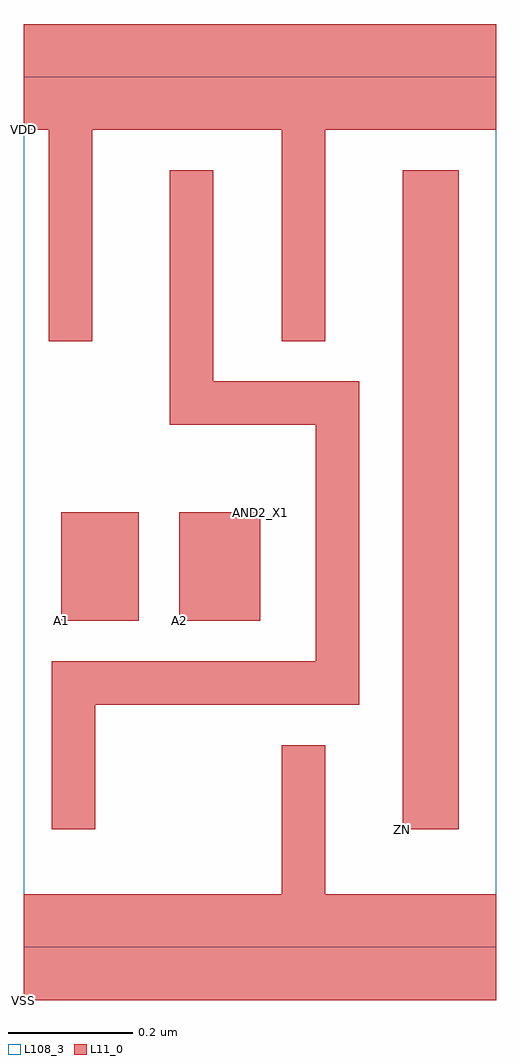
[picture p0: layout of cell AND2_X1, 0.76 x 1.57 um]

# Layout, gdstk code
import gdstk
lib = gdstk.Library(unit=1e-6, precision=1e-09)
def R(c, l, rs):  # rectangles x0, y0, x1, y1
    for r in rs: c.add(gdstk.rectangle(r[:2], r[2:], *l))
def P(c, l, *ps):  # polygons
    for p in ps: c.add(gdstk.Polygon(p, *l))
L11_0 = (11, 0)
L108_3 = (108, 3)

and2_x1 = lib.new_cell('AND2_X1')
R(and2_x1, L11_0, [(0.61,0.19,0.7,1.25), (0.06,0.525,0.185,0.7), (0.25,0.525,0.38,0.7)])
P(and2_x1, L11_0, [(0,1.315),(0.04,1.315),(0.04,0.975),(0.11,0.975),(0.11,1.315),(0.415,1.315),(0.415,0.975),(0.485,0.975),(0.485,1.315),(0.54,1.315),(0.76,1.315),(0.76,1.485),(0.54,1.485),(0,1.485)],
  [(0,-0.085),(0.76,-0.085),(0.76,0.085),(0.485,0.085),(0.485,0.325),(0.415,0.325),(0.415,0.085),(0,0.085)],
  [(0.235,0.84),(0.47,0.84),(0.47,0.46),(0.045,0.46),(0.045,0.19),(0.115,0.19),(0.115,0.39),(0.54,0.39),(0.54,0.91),(0.305,0.91),(0.305,1.25),(0.235,1.25)])
R(and2_x1, L108_3, [(0,0,0.76,1.4)])
and2_x1.add(gdstk.Label('AND2_X1', (0.38,0.7), layer=108, texttype=3))
and2_x1.add(gdstk.Label('A1', (0.06,0.525), layer=11, texttype=0))
and2_x1.add(gdstk.Label('A2', (0.25,0.525), layer=11, texttype=0))
and2_x1.add(gdstk.Label('ZN', (0.61,0.19), layer=11, texttype=0))
and2_x1.add(gdstk.Label('VDD', (0,1.315), layer=11, texttype=0))
and2_x1.add(gdstk.Label('VSS', (0,-0.085), layer=11, texttype=0))

lib.write_gds('AND2_X1.gds')
